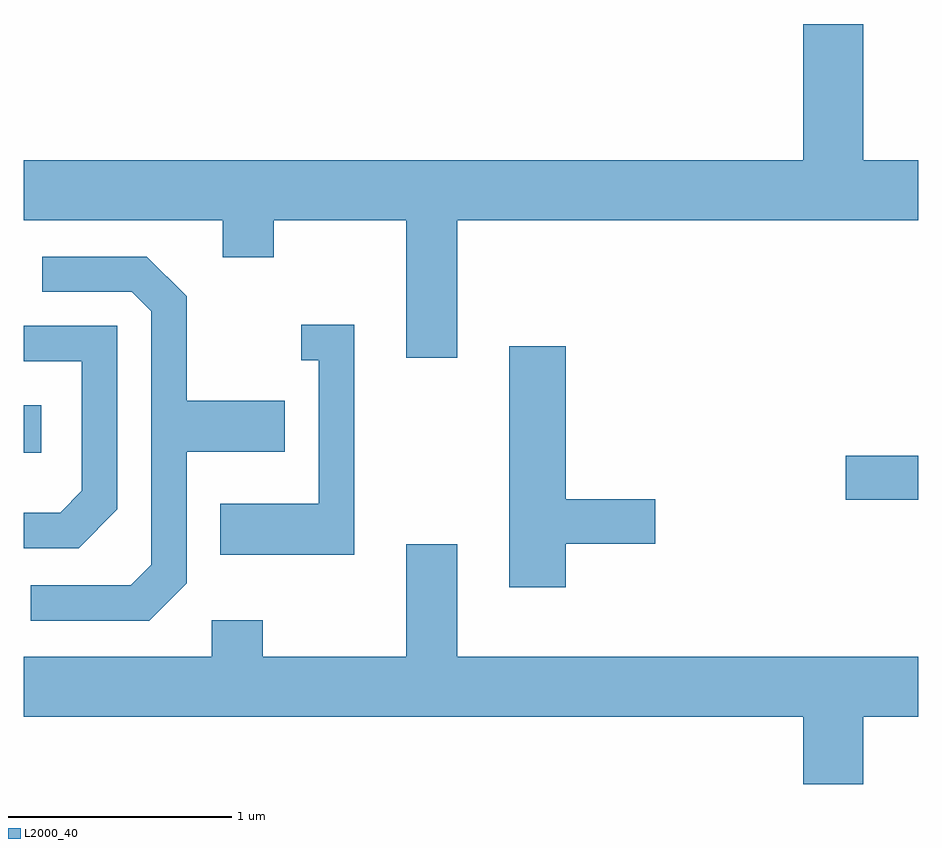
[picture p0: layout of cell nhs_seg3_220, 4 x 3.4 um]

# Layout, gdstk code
import gdstk
lib = gdstk.Library(unit=1e-6, precision=1e-09)
def R(c, l, rs):  # rectangles x0, y0, x1, y1
    for r in rs: c.add(gdstk.rectangle(r[:2], r[2:], *l))
def P(c, l, *ps):  # polygons
    for p in ps: c.add(gdstk.Polygon(p, *l))
L2000_40 = (2000, 40)

nhs_seg3_220 = lib.new_cell('nhs_seg3_220')
R(nhs_seg3_220, L2000_40, [(195.286,1149.186,195.611,1149.384), (191.611,1149.396,191.689,1149.609)])
P(nhs_seg3_220, L2000_40, [(193.549,1150.436),(195.611,1150.436),(195.611,1150.704),(195.364,1150.704),(195.364,1151.314),(195.096,1151.314),(195.096,1150.704),(191.611,1150.704),(191.611,1150.436),(192.501,1150.436),(192.501,1150.271),(192.729,1150.271),(192.729,1150.436),(193.321,1150.436),(193.321,1149.821),(193.549,1149.821)],
  [(192.339,1148.814),(192.339,1149.401),(192.779,1149.401),(192.779,1149.629),(192.339,1149.629),(192.339,1150.097),(192.162,1150.274),(191.693,1150.274),(191.693,1150.116),(192.094,1150.116),(192.181,1150.029),(192.181,1148.897),(192.089,1148.804),(191.643,1148.804),(191.643,1148.646),(192.172,1148.646)],
  [(193.089,1149.969),(192.853,1149.969),(192.853,1149.811),(192.931,1149.811),(192.931,1149.169),(192.491,1149.169),(192.491,1148.941),(193.089,1148.941)],
  [(192.029,1149.144),(192.029,1149.964),(191.611,1149.964),(191.611,1149.806),(191.871,1149.806),(191.871,1149.227),(191.774,1149.129),(191.611,1149.129),(191.611,1148.971),(191.857,1148.971)],
  [(194.034,1148.991),(194.434,1148.991),(194.434,1149.189),(194.034,1149.189),(194.034,1149.874),(193.781,1149.874),(193.781,1148.796),(194.034,1148.796)],
  [(195.364,1148.216),(195.611,1148.216),(195.611,1148.484),(193.549,1148.484),(193.549,1148.989),(193.321,1148.989),(193.321,1148.484),(192.679,1148.484),(192.679,1148.649),(192.451,1148.649),(192.451,1148.484),(191.611,1148.484),(191.611,1148.216),(195.096,1148.216),(195.096,1147.916),(195.364,1147.916)])

lib.write_gds('nhs_seg3_220.gds')
